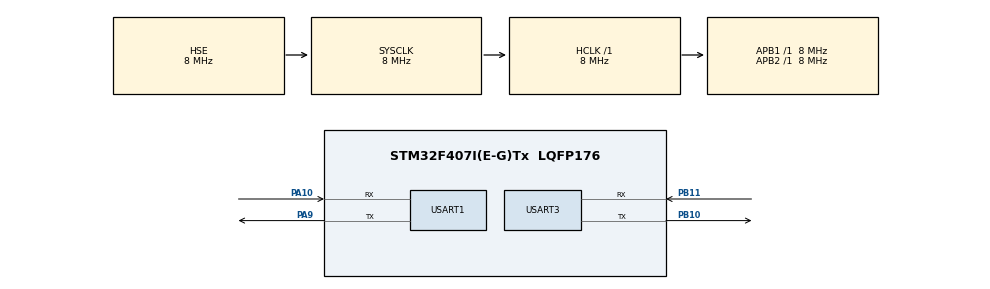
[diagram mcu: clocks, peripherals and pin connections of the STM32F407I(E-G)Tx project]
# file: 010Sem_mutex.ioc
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Mcu.Family=STM32F4
RCC.PLLSourceVirtual=RCC_PLLSOURCE_HSE
PH0-OSC_IN.Signal=RCC_OSC_IN
VP_SYS_VS_tim6.Mode=TIM6
RCC.CortexFreq_Value=8000000
PA10.Mode=Asynchronous
PB10.Mode=Asynchronous
NVIC.TIM6_DAC_IRQn=true\:0\:0\:false\:false\:true\:false\:true
PB11.Signal=USART3_RX
RCC.SYSCLKSource=RCC_SYSCLKSOURCE_HSE
ProjectManager.StackSize=0x400
PA9.Mode=Asynchronous
PB11.Mode=Asynchronous
ProjectManager.TargetToolchain=STM32CubeIDE
RCC.HCLKFreq_Value=8000000
RCC.APB2TimFreq_Value=8000000
PA9.Signal=USART1_TX
RCC.LSE_VALUE=32768
RCC.AHBFreq_Value=8000000
PH0-OSC_IN.Mode=HSE-External-Oscillator
PB10.Signal=USART3_TX
RCC.HSE_VALUE=8000000
board=custom
RCC.VCOOutputFreq_Value=96000000
RCC.APB2Freq_Value=8000000
PH1-OSC_OUT.Signal=RCC_OSC_OUT
Mcu.Name=STM32F407I(E-G)Tx
PH1-OSC_OUT.Mode=HSE-External-Oscillator
RCC.48MHZClocksFreq_Value=24000000
RCC.SYSCLKFreq_VALUE=8000000
Mcu.Package=LQFP176
NVIC.TimeBase=TIM6_DAC_IRQn
USART3.VirtualMode=VM_ASYNC
USART1.VirtualMode=VM_ASYNC
NVIC.TimeBaseIP=TIM6
PA10.Signal=USART1_RX
ProjectManager.HeapSize=0x200
RCC.HSI_VALUE=16000000
NVIC.PriorityGroup=NVIC_PRIORITYGROUP_4
RCC.APB1TimFreq_Value=8000000
RCC.APB1Freq_Value=8000000

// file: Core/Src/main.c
/* USER CODE BEGIN Header */
/**
  ******************************************************************************
  * @file           : main.c
  * @brief          : Main program body
  ******************************************************************************
  * @attention
  *
  * <h2><center>&copy; Copyright (c) 2021 STMicroelectronics.
  * All rights reserved.</center></h2>
  *
  * This software component is licensed by ST under BSD 3-Clause license,
  * the "License"; You may not use this file except in compliance with the
  * License. You may obtain a copy of the License at:
  *                        opensource.org/licenses/BSD-3-Clause
  *
  ******************************************************************************
  */
/* USER CODE END Header */
#include "main.h"

/* USER CODE BEGIN Includes */
#include <stdio.h>
#include <stdlib.h>
#include <string.h>
#include "uart_task.h"
#include "FreeRTOS.h"
#include "task.h"
#include "utility.h"
#include "queue.h"
#include "timers.h"
#include "semphr.h"
#include "queue.h"
/* USER CODE END Includes */

UART_HandleTypeDef huart1;
UART_HandleTypeDef huart3;
char usr_msg[250]={0};
TaskHandle_t xTaskHandle1=NULL;
TaskHandle_t xTaskHandle2=NULL;
xSemaphoreHandle xMutex;

void SystemClock_Config(void);
static void MX_GPIO_Init(void);
static void MX_USART1_UART_Init(void);
static void MX_USART3_UART_Init(void);
/* USER CODE BEGIN PFP */
static void prvPrintTask( void *pvParameters );
/* USER CODE END PFP */

int main(void)
{

  /* MCU Configuration--------------------------------------------------------*/

  /* Reset of all peripherals, Initializes the Flash interface and the Systick. */
  HAL_Init();

  /* Configure the system clock */
  SystemClock_Config();

  /* Initialize all configured peripherals */
  MX_GPIO_Init();
  MX_USART1_UART_Init();
  MX_USART3_UART_Init();
  /* USER CODE BEGIN 2 */
  xMutex = xSemaphoreCreateMutex();
  if( xMutex != NULL )
  {
  		/* Create two instances of the tasks that attempt to write stdout.  The
  		string they attempt to write is passed in as the task parameter.  The tasks
  		are created at different priorities so some pre-emption will occur. */
  		xTaskCreate( prvPrintTask, "Print1", 240, "Task 1 ******************************************\r\n", 1, NULL );
  		xTaskCreate( prvPrintTask, "Print2", 240, "Task 2 ------------------------------------------\r\n", 2, NULL );

  		/* Start the scheduler so the created tasks start executing. */
  		vTaskStartScheduler();
  	}
  /* USER CODE END 2 */

  /* Infinite loop */
  while (1)
  {

  }
}

void SystemClock_Config(void)
{
  RCC_OscInitTypeDef RCC_OscInitStruct = {0};
  RCC_ClkInitTypeDef RCC_ClkInitStruct = {0};

  /** Configure the main internal regulator output voltage
  */
  __HAL_RCC_PWR_CLK_ENABLE();
  __HAL_PWR_VOLTAGESCALING_CONFIG(PWR_REGULATOR_VOLTAGE_SCALE1);
  /** Initializes the RCC Oscillators according to the specified parameters
  * in the RCC_OscInitTypeDef structure.
  */
  RCC_OscInitStruct.OscillatorType = RCC_OSCILLATORTYPE_HSE;
  RCC_OscInitStruct.HSEState = RCC_HSE_ON;
  RCC_OscInitStruct.PLL.PLLState = RCC_PLL_NONE;
  if (HAL_RCC_OscConfig(&RCC_OscInitStruct) != HAL_OK)
  {
    Error_Handler();
  }
  /** Initializes the CPU, AHB and APB buses clocks
  */
  RCC_ClkInitStruct.ClockType = RCC_CLOCKTYPE_HCLK|RCC_CLOCKTYPE_SYSCLK
                              |RCC_CLOCKTYPE_PCLK1|RCC_CLOCKTYPE_PCLK2;
  RCC_ClkInitStruct.SYSCLKSource = RCC_SYSCLKSOURCE_HSE;
  RCC_ClkInitStruct.AHBCLKDivider = RCC_SYSCLK_DIV1;
  RCC_ClkInitStruct.APB1CLKDivider = RCC_HCLK_DIV1;
  RCC_ClkInitStruct.APB2CLKDivider = RCC_HCLK_DIV1;

  if (HAL_RCC_ClockConfig(&RCC_ClkInitStruct, FLASH_LATENCY_0) != HAL_OK)
  {
    Error_Handler();
  }
}

static void MX_USART1_UART_Init(void)
{

  huart1.Instance = USART1;
  huart1.Init.BaudRate = 115200;
  huart1.Init.WordLength = UART_WORDLENGTH_8B;
  huart1.Init.StopBits = UART_STOPBITS_1;
  huart1.Init.Parity = UART_PARITY_NONE;
  huart1.Init.Mode = UART_MODE_TX_RX;
  huart1.Init.HwFlowCtl = UART_HWCONTROL_NONE;
  huart1.Init.OverSampling = UART_OVERSAMPLING_16;
  if (HAL_UART_Init(&huart1) != HAL_OK)
  {
    Error_Handler();
  }

}

static void MX_USART3_UART_Init(void)
{

  huart3.Instance = USART3;
  huart3.Init.BaudRate = 115200;
  huart3.Init.WordLength = UART_WORDLENGTH_8B;
  huart3.Init.StopBits = UART_STOPBITS_1;
  huart3.Init.Parity = UART_PARITY_NONE;
  huart3.Init.Mode = UART_MODE_TX_RX;
  huart3.Init.HwFlowCtl = UART_HWCONTROL_NONE;
  huart3.Init.OverSampling = UART_OVERSAMPLING_16;
  if (HAL_UART_Init(&huart3) != HAL_OK)
  {
    Error_Handler();
  }

}

static void MX_GPIO_Init(void)
{

  /* GPIO Ports Clock Enable */
  __HAL_RCC_GPIOH_CLK_ENABLE();
  __HAL_RCC_GPIOB_CLK_ENABLE();
  __HAL_RCC_GPIOA_CLK_ENABLE();

}

/* USER CODE BEGIN 4 */
static void prvPrintTask( void *pvParameters )
{
	char *pcStringToPrint;

	/* Two instances of this task are created so the string the task will send
	to prvNewPrintString() is passed in the task parameter.  Cast this to the
	required type. */
	pcStringToPrint = ( char * ) pvParameters;

	for( ;; )
	{
		/* Print out the string using the newly defined function. */
		xSemaphoreTake( xMutex, portMAX_DELAY );
		debugPrint(&huart1, pcStringToPrint);
		xSemaphoreGive( xMutex );
		/* Wait a pseudo random time.  Note that rand() is not necessarily
		re-entrant, but in this case it does not really matter as the code does
		not care what value is returned.  In a more secure application a version
		of rand() that is known to be re-entrant should be used - or calls to
		rand() should be protected using a critical section. */
		vTaskDelay( rand() & 0XF );
	}
}
/* USER CODE END 4 */

 /**
  * @brief  Period elapsed callback in non blocking mode
  * @note   This function is called  when TIM6 interrupt took place, inside
  * HAL_TIM_IRQHandler(). It makes a direct call to HAL_IncTick() to increment
  * a global variable "uwTick" used as application time base.
  * @param  htim : TIM handle
  * @retval None
  */
void HAL_TIM_PeriodElapsedCallback(TIM_HandleTypeDef *htim)
{
  if (htim->Instance == TIM6) {
    HAL_IncTick();
  }
}

void Error_Handler(void)
{
  __disable_irq();
  while (1)
  {
  }
}

/************************ (C) COPYRIGHT STMicroelectronics *****END OF FILE****/
